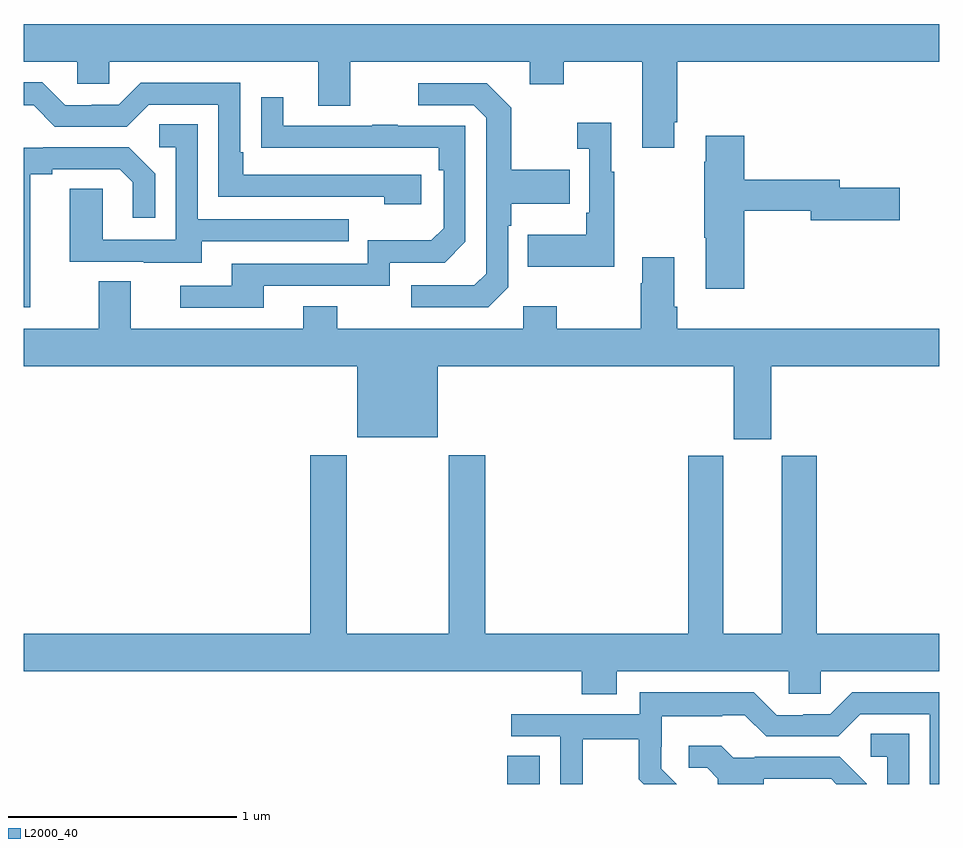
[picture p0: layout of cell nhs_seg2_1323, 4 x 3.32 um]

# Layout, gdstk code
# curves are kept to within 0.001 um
import gdstk
lib = gdstk.Library(unit=1e-6, precision=1e-09)
def R(c, l, rs):  # rectangles x0, y0, x1, y1
    for r in rs: c.add(gdstk.rectangle(r[:2], r[2:], *l))
def P(c, l, *ps):  # polygons
    for p in ps: c.add(gdstk.Polygon(p, *l))
L2000_40 = (2000, 40)

nhs_seg2_1323 = lib.new_cell('nhs_seg2_1323')
R(nhs_seg2_1323, L2000_40, [(181.112,657.8,181.255,657.923)])
P(nhs_seg2_1323, L2000_40, [(181.843,660.691),(181.856,660.691),(181.856,660.956),(183,660.956),(183,661.12),(179,661.12),(179,660.956),(179.235,660.956),(179.235,660.858),(179.373,660.858),(179.373,660.956),(180.287,660.956),(180.287,660.762),(180.427,660.762),(180.427,660.956),(181.211,660.956),(181.211,660.857),(181.359,660.857),(181.359,660.956),(181.703,660.956),(181.703,660.579),(181.843,660.579)],
  [(180.736,660.462),(179.959,660.462),(179.959,660.559),(179.946,660.559),(179.946,660.864),(179.511,660.864),(179.415,660.768),(179.297,660.768),(179.297,660.765),(179.181,660.765),(179.081,660.865),(179,660.865),(179,660.765),(179.043,660.765),(179.136,660.672),(179.451,660.672),(179.547,660.768),(179.85,660.768),(179.85,660.366),(180.575,660.366),(180.575,660.332),(180.736,660.332)],
  [(181.116,659.97),(181.116,660.239),(181.129,660.239),(181.129,660.335),(181.385,660.335),(181.385,660.483),(181.129,660.483),(181.129,660.755),(181.023,660.861),(180.723,660.861),(180.723,660.765),(180.966,660.765),(181.02,660.711),(181.02,660.03),(180.969,659.979),(180.693,659.979),(180.693,659.883),(181.029,659.883)],
  [(180.049,659.976),(180.6,659.976),(180.6,660.078),(180.84,660.078),(180.93,660.168),(180.93,660.675),(180.635,660.675),(180.635,660.68),(180.523,660.68),(180.523,660.675),(180.133,660.675),(180.133,660.799),(180.037,660.799),(180.037,660.58),(180.814,660.579),(180.814,660.482),(180.834,660.482),(180.834,660.228),(180.781,660.175),(180.504,660.175),(180.504,660.072),(179.909,660.072),(179.909,659.976),(179.685,659.976),(179.685,659.88),(180.049,659.88)],
  [(181.579,660.475),(181.567,660.475),(181.567,660.688),(181.419,660.688),(181.419,660.575),(181.47,660.575),(181.47,660.295),(181.458,660.295),(181.458,660.199),(181.201,660.199),(181.201,660.059),(181.579,660.059)],
  [(179.779,660.171),(180.419,660.171),(180.419,660.267),(179.76,660.267),(179.76,660.683),(179.592,660.683),(179.592,660.582),(179.664,660.582),(179.664,660.177),(179.346,660.177),(179.346,660.401),(179.201,660.401),(179.201,660.081),(179.525,660.081),(179.525,660.077),(179.779,660.077)],
  [(182.147,660.304),(182.438,660.304),(182.438,660.262),(182.827,660.262),(182.827,660.404),(182.566,660.404),(182.566,660.44),(182.147,660.44),(182.147,660.631),(181.979,660.631),(181.979,660.518),(181.972,660.518),(181.972,660.187),(181.979,660.187),(181.979,659.964),(182.147,659.964)],
  [(179.029,660.464),(179.125,660.464),(179.125,660.486),(179.42,660.486),(179.477,660.429),(179.477,660.273),(179.574,660.273),(179.574,660.466),(179.458,660.582),(179.086,660.582),(179.086,660.579),(179,660.579),(179,659.883),(179.029,659.883)],
  [(182.266,659.624),(183,659.624),(183,659.788),(181.856,659.788),(181.856,659.884),(181.843,659.884),(181.843,660.1),(181.703,660.1),(181.703,659.987),(181.696,659.987),(181.696,659.788),(181.329,659.788),(181.329,659.887),(181.182,659.887),(181.182,659.788),(180.369,659.788),(180.369,659.887),(180.221,659.887),(180.221,659.788),(179.467,659.788),(179.467,659.996),(179.327,659.996),(179.327,659.788),(179,659.788),(179,659.624),(180.458,659.624),(180.458,659.315),(180.808,659.315),(180.808,659.624),(182.102,659.624),(182.102,659.307),(182.266,659.307)],
  [(181.591,658.292),(182.343,658.292),(182.343,658.194),(182.481,658.194),(182.481,658.292),(183,658.292),(183,658.456),(182.465,658.456),(182.465,659.235),(182.312,659.235),(182.312,658.456),(182.056,658.456),(182.056,659.235),(181.904,659.235),(181.904,658.456),(181.016,658.456),(181.016,659.236),(180.856,659.236),(180.856,658.456),(180.411,658.456),(180.411,659.236),(180.251,659.236),(180.251,658.456),(179,658.456),(179,658.292),(181.439,658.292),(181.439,658.193),(181.591,658.193)],
  [(181.443,657.996),(181.687,657.996),(181.687,657.821),(181.708,657.8),(181.852,657.8),(181.786,657.866),(181.786,657.963),(181.788,657.963),(181.788,658.097),(182.051,658.097),(182.051,658.101),(182.151,658.101),(182.244,658.008),(182.559,658.008),(182.655,658.104),(182.958,658.104),(182.958,657.8),(183,657.8),(183,658.2),(182.619,658.2),(182.523,658.104),(182.405,658.104),(182.405,658.101),(182.289,658.101),(182.189,658.201),(181.692,658.201),(181.692,658.104),(181.131,658.104),(181.131,658.008),(181.344,658.008),(181.344,657.8),(181.443,657.8)],
  [(182.868,658.019),(182.7,658.019),(182.7,657.918),(182.772,657.918),(182.772,657.8),(182.868,657.8)],
  [(182.233,657.822),(182.528,657.822),(182.55,657.8),(182.682,657.8),(182.682,657.802),(182.566,657.918),(182.194,657.918),(182.194,657.915),(182.1,657.915),(182.048,657.967),(181.905,657.967),(181.905,657.87),(181.986,657.87),(182.033,657.823),(182.033,657.8),(182.233,657.8)])

lib.write_gds('nhs_seg2_1323.gds')
